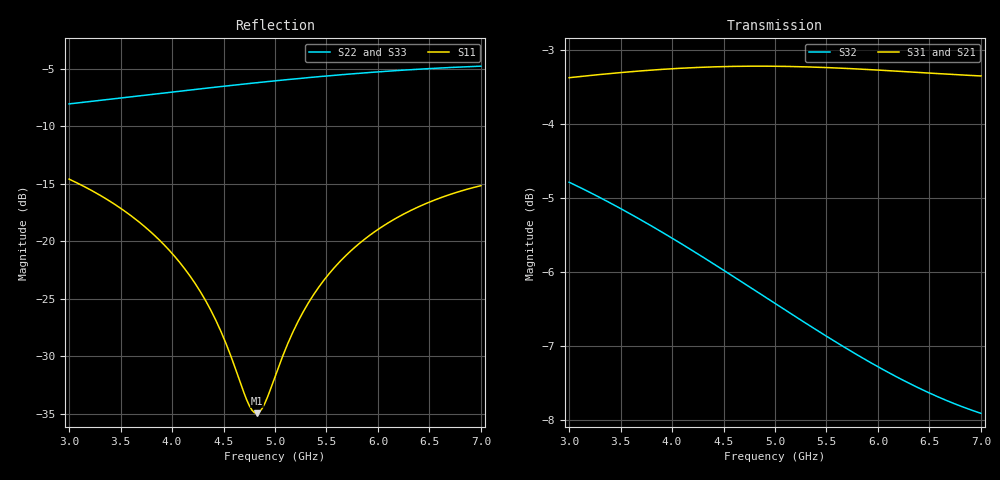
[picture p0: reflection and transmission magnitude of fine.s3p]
! yapnr rf: divider-osh-m-star-m-nom-fwd, footprint re-simulated (refine 2)
! spec sha256 bca0671be0a1030c57dfc40b246688132a6c111217a427a9ce54e2d0587478ed
! 3 ports renormalized to 50 ohm, e^(+jwt) convention
# GHz S RI R 50
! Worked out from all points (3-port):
!   161 points, 3 GHz to 7 GHz, reference 50 ohm
!   strongest paths, dB at 3 GHz, 4 GHz, 5 GHz, 6 GHz, 7 GHz:
!     S31: -3.4, -3.3, -3.2, -3.3, -3.4
!     S21: -3.4, -3.3, -3.2, -3.3, -3.4
!     S32: -4.8, -5.5, -6.4, -7.3, -7.9
!   lowest |S11| = -34.9 dB at 4.825 GHz (marker M1), VSWR 1.04, Z = 51.7 - j0.557 ohm
!   |S11| at or under -10 dB: start of sweep to end of sweep
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3  -0.0718 0.1717  0.0981 -0.6707  0.0981 -0.6707
   0.098 -0.6706  0.1424 0.3684  -0.1531 -0.5554
   0.098 -0.6706  -0.1531 -0.5554  0.1424 0.3684
3.6  -0.0139 0.1285  -0.1031 -0.6763  -0.1031 -0.6763
     -0.1032 -0.6763  0.2752 0.3224  -0.3184 -0.4462
     -0.1032 -0.6763  -0.3184 -0.4462  0.2752 0.3224
4.075  0.0142 0.0796  -0.2604 -0.6366  -0.2604 -0.6366
       -0.2604 -0.6365  0.3685 0.2557  -0.4074 -0.3301
       -0.2604 -0.6365  -0.4074 -0.3301  0.3685 0.2557
4.375  0.0217 0.0454  -0.3536 -0.5916  -0.3536 -0.5916
       -0.3536 -0.5915  0.4186 0.2012  -0.4431 -0.2504
       -0.3536 -0.5915  -0.4431 -0.2504  0.4186 0.2012
4.825  0.0171 -0.00538  -0.4777 -0.498  -0.4777 -0.498
       -0.4777 -0.4979  0.4771 0.1041  -0.4681 -0.1304
       -0.4777 -0.4979  -0.4681 -0.1304  0.4771 0.1041
5  0.0103 -0.0236  -0.5195 -0.4541  -0.5195 -0.4541
   -0.5195 -0.454  0.4934 0.0623  -0.4695 -0.0852
   -0.5195 -0.454  -0.4695 -0.0852  0.4934 0.0623
5.325  -0.00875 -0.0533  -0.5856 -0.3635  -0.5856 -0.3635
       -0.5856 -0.3634  0.5133 -0.0195  -0.4615 -0.00557
       -0.5856 -0.3634  -0.4615 -0.00557  0.5133 -0.0195
5.725  -0.0415 -0.0796  -0.6444 -0.2395  -0.6444 -0.2395
       -0.6444 -0.2395  0.5177 -0.1241  -0.4358 0.0827
       -0.6444 -0.2395  -0.4358 0.0827  0.5177 -0.1241
6.3  -0.098 -0.0925  -0.6823 -0.0485  -0.6823 -0.0485
     -0.6822 -0.0485  0.4843 -0.2719  -0.3773 0.1881
     -0.6822 -0.0485  -0.3773 0.1881  0.4843 -0.2719
7  -0.1614 -0.0658  -0.6547 0.1828  -0.6547 0.1828
   -0.6545 0.1828  0.3866 -0.4269  -0.2855 0.2834
   -0.6545 0.1828  -0.2855 0.2834  0.3866 -0.4269
